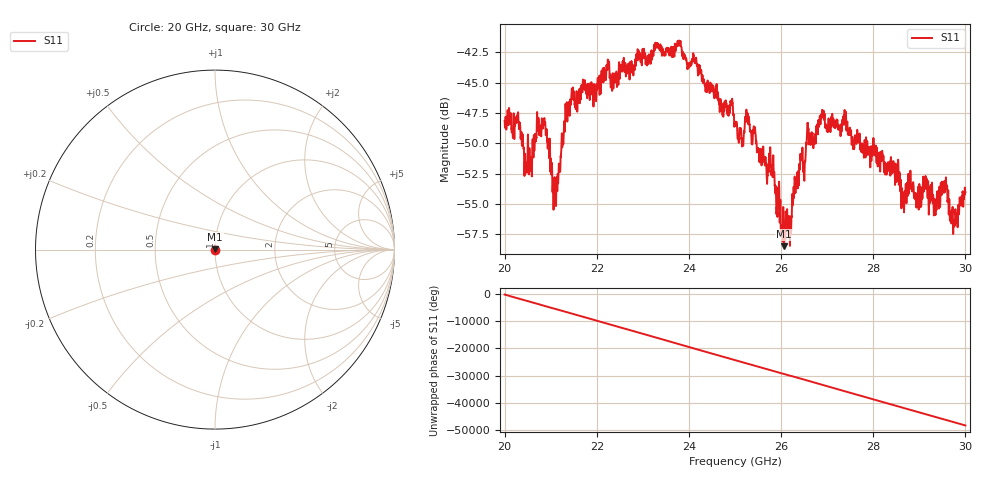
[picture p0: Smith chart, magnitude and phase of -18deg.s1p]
#  HZ  S  RI  R  50.00
! Rohde & Schwarz ZVA40 4Ports - Version 3.90 - 1145.1110k42 SN: 100403
! Date: 2023-10-03 11:27:43
! Measurement: S12
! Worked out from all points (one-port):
!   5001 points, 20 GHz to 30 GHz, reference 50 ohm
!   lowest |S11| = -58.5 dB at 26.06 GHz (marker M1), VSWR 1.00, Z = 50 + j0.117 ohm
!   |S11| at or under -10 dB: start of sweep to end of sweep
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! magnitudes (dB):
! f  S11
! 20 GHz  -48.2
! 20.29 GHz  -47.6
! 20.48 GHz  -52.0
! 20.85 GHz  -48.4
! 21.08 GHz  -53.1
! 21.25 GHz  -50.3
! 21.47 GHz  -45.9
! 22.5 GHz  -44.0
! 23.75 GHz  -41.7
! 25 GHz  -48.6
! 25.16 GHz  -50.1
! 25.27 GHz  -47.9
! 25.53 GHz  -51.5
! 25.79 GHz  -52.6
! 26.06 GHz  -58.5
! 26.25 GHz  -54.9
! 26.59 GHz  -49.1
! 26.88 GHz  -47.9
! 27.5 GHz  -49.2
! 28.42 GHz  -52.4
! 28.65 GHz  -54.3
! 28.75 GHz  -54.1
! 28.94 GHz  -54.9
! 29.12 GHz  -53.5
! 29.36 GHz  -54.9
! 29.56 GHz  -53.9
! 29.78 GHz  -55.5
! 30 GHz  -54.0
